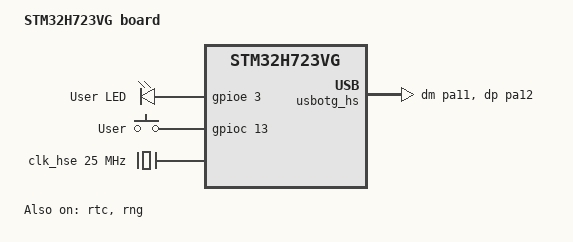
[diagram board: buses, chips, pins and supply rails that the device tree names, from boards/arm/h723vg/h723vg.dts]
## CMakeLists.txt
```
cmake_minimum_required(VERSION 3.20.0)


set(BOARD_ROOT ${CMAKE_CURRENT_SOURCE_DIR})
set(BOARD h723vg)

if(EXISTS "${CMAKE_CURRENT_SOURCE_DIR}/prj.conf")
  list(APPEND CONF_FILE "prj.conf")
endif()

find_package(Zephyr REQUIRED HINTS $ENV{ZEPHYR_BASE})
project(blinky)

target_sources(app PRIVATE src/main.c)
```

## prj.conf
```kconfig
# Logging
CONFIG_LOG=y

# Debugger
CONFIG_DEBUG=y
CONFIG_THREAD_MONITOR=y
CONFIG_DEBUG_THREAD_INFO=y
CONFIG_THREAD_STACK_INFO=y
CONFIG_DEBUG_OPTIMIZATIONS=y

CONFIG_SERIAL=y
CONFIG_CONSOLE=y
CONFIG_UART_CONSOLE=y
CONFIG_UART_LINE_CTRL=y

CONFIG_DEBUG=y
CONFIG_LOG=y
CONFIG_SERIAL=y
CONFIG_CONSOLE=y
CONFIG_UART_CONSOLE=y
CONFIG_UART_LINE_CTRL=y
CONFIG_LOG_MODE_IMMEDIATE=y

CONFIG_EARLY_CONSOLE=y
CONFIG_PRINTK=y

# Enable USB stack
CONFIG_USB_DEVICE_STACK=y

# Enable USB Initialize at boot
CONFIG_USB_DEVICE_INITIALIZE_AT_BOOT=y

CONFIG_USB_SELF_POWERED=y
# Set USB log level
CONFIG_USB_DRIVER_LOG_LEVEL_ERR=y
CONFIG_USB_DEVICE_LOG_LEVEL_ERR=y

# Set USB CDC ACM log level
CONFIG_USB_CDC_ACM_LOG_LEVEL_ERR=y

CONFIG_RTC=y
CONFIG_RTC_ALARM=y
CONFIG_COUNTER_RTC_STM32=y
CONFIG_COUNTER=y

CONFIG_ASSERT=y
```

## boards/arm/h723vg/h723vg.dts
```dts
/*
 * Copyright (c) 2024 Krzysztof Gawryś
 * SPDX-License-Identifier: Apache-2.0
 */

/dts-v1/;
#include <st/h7/stm32h723Xg.dtsi>
#include <st/h7/stm32h723vgtx-pinctrl.dtsi>
#include <zephyr/dt-bindings/input/input-event-codes.h>

/ {
	model = "STM32H723VG board";
	compatible = "st,stm32h723vg";

	chosen {
		zephyr,console = &cdc_acm_uart0;
		zephyr,shell-uart = &cdc_acm_uart0;
		zephyr,dtcm = &dtcm;
		zephyr,sram = &sram0;
		zephyr,flash = &flash0;
	};

	leds: leds {
		compatible = "gpio-leds";
		led: led_0 {
			gpios = <&gpioe 3 GPIO_ACTIVE_HIGH>;
			label = "User LED";
		};
	};

	gpio_keys {
		compatible = "gpio-keys";
		user_button: button_0 {
			label = "User";
			gpios = <&gpioc 13 GPIO_ACTIVE_HIGH>;
			zephyr,code = <INPUT_KEY_0>;
		};
	};

	aliases {
		led = &led;
		sw = &user_button;
	};
};

&clk_hse {
	// hse-bypass;
	clock-frequency = <DT_FREQ_M(25)>; /* STLink 8MHz clock */
	status = "okay";
};

&clk_lse {
	driving-capability = <3>;
	status = "okay";
};

&clk_hsi48 {
	status = "okay";
};

&pll {
	div-m = <2>;
	mul-n = <44>;
	div-p = <1>;
	div-q = <2>;
	div-r = <2>;
	clocks = <&clk_hse>;
	status = "okay";
};

&rcc {
	clocks = <&pll>;
	clock-frequency = <DT_FREQ_M(550)>;
	d1cpre = <1>;
	hpre = <2>;    /* HCLK: 275   MHz */
	d1ppre = <2>;  /* APB1: 137.5 MHz */
	d2ppre1 = <2>; /* APB2: 137.5 MHz */
	d2ppre2 = <2>; /* APB3: 137.5 MHz */
	d3ppre = <2>;  /* APB4: 137.5 MHz */
};

// &usart3 {
	//     pinctrl-0 = <&usart3_tx_pd8 &usart3_rx_pd9>;
	//     pinctrl-names = "default";
	//     current-speed = <115200>;
	//     status = "okay";
// };

// &usart2 {
	//     pinctrl-0 = <&usart2_tx_pd5 &usart2_rx_pd6>;
	//     pinctrl-names = "default";
	//     current-speed = <115200>;
	//     status = "okay";
// };

&rtc {
	clocks = <&rcc STM32_CLOCK_BUS_APB4 0x00010000>,
	         <&rcc STM32_SRC_LSE RTC_SEL(1)>;
	status = "okay";
};

// &timers2 {
	//     st,prescaler = <83>;
	//     counter {
		//         status = "okay";
	//     };
// };

// &spi1 {
	//     status = "okay";
	//     pinctrl-0 = <&spi1_sck_pa5 &spi1_miso_pa6 &spi1_mosi_pb5>;
	//     pinctrl-names = "default";
	//     cs-gpios = <&gpiod 14 (GPIO_ACTIVE_LOW | GPIO_PULL_UP)>;
// };

// &i2c1 {
	//     pinctrl-0 = <&i2c1_scl_pb8 &i2c1_sda_pb9>;
	//     pinctrl-names = "default";
	//     status = "okay";
	//     clock-frequency = <I2C_BITRATE_FAST>;
// };

&backup_sram {
	status = "okay";
};

// &timers12 {
	//     st,prescaler = <10000>;
	//     status = "okay";

	//     pwm12: pwm {
		//         status = "okay";
		//         pinctrl-0 = <&tim12_ch1_pb14>;
		//         pinctrl-names = "default";
	//     };
// };

zephyr_udc0: &usbotg_hs {
	pinctrl-0 = <&usb_otg_hs_dm_pa11 &usb_otg_hs_dp_pa12>;
	pinctrl-names = "default";
	status = "okay";
	cdc_acm_uart0: cdc_acm_uart0 {
		compatible = "zephyr,cdc-acm-uart";
	};
};

&rng {
	status = "okay";
};
```

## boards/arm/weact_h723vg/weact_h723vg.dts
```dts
/*
 * Copyright (c) 2024 Krzysztof Gawryś
 * SPDX-License-Identifier: Apache-2.0
 */

/dts-v1/;
#include <st/h7/stm32h723Xg.dtsi>
#include <st/h7/stm32h723vgtx-pinctrl.dtsi>
#include "arduino_r3_connector.dtsi"
#include <zephyr/dt-bindings/input/input-event-codes.h>

/ {
	model = "STM32H723VG board";
	compatible = "st,stm32h723vg";

	chosen {
		zephyr,console = &usart3;
		zephyr,shell-uart = &usart3;
		zephyr,dtcm = &dtcm;
		zephyr,sram = &sram0;
		zephyr,flash = &flash0;
	};

	leds: leds {
		compatible = "gpio-leds";
		led: led_0 {
			gpios = <&gpioe 3 GPIO_ACTIVE_HIGH>;
			label = "User LED";
		};
	};

	gpio_keys {
		compatible = "gpio-keys";
		user_button: button_0 {
			label = "User";
			gpios = <&gpioc 13 GPIO_ACTIVE_HIGH>;
			zephyr,code = <INPUT_KEY_0>;
		};
	};

	aliases {
		led = &led;
		sw = &user_button;
	};
};

&clk_hse {
	// hse-bypass;
	clock-frequency = <DT_FREQ_M(25)>; /* STLink 8MHz clock */
	status = "okay";
};

&clk_lse {
	driving-capability = <3>;
	status = "okay";
};

&pll {
	div-m = <2>;
	mul-n = <44>;
	div-p = <1>;
	div-q = <5>;
	div-r = <2>;
	clocks = <&clk_hse>;
	status = "okay";
};

&rcc {
	clocks = <&pll>;
	clock-frequency = <DT_FREQ_M(550)>;
	d1cpre = <1>;
	hpre = <2>;    /* HCLK: 275   MHz */
	d1ppre = <2>;  /* APB1: 137.5 MHz */
	d2ppre1 = <2>; /* APB2: 137.5 MHz */
	d2ppre2 = <2>; /* APB3: 137.5 MHz */
	d3ppre = <2>;  /* APB4: 137.5 MHz */
};

&usart3 {
	pinctrl-0 = <&usart3_tx_pd8 &usart3_rx_pd9>;
	pinctrl-names = "default";
	current-speed = <115200>;
	status = "okay";
};

&usart2 {
	pinctrl-0 = <&usart2_tx_pd5 &usart2_rx_pd6>;
	pinctrl-names = "default";
	current-speed = <115200>;
	status = "okay";
};

&rtc {
	clocks = <&rcc STM32_CLOCK_BUS_APB4 0x00010000>,
		 <&rcc STM32_SRC_LSI RTC_SEL(2)>;
	status = "okay";
};

&spi1 {
	status = "okay";
	pinctrl-0 = <&spi1_sck_pa5 &spi1_miso_pa6 &spi1_mosi_pb5>;
	pinctrl-names = "default";
	cs-gpios = <&gpiod 14 (GPIO_ACTIVE_LOW | GPIO_PULL_UP)>;
};

&i2c1 {
	pinctrl-0 = <&i2c1_scl_pb8 &i2c1_sda_pb9>;
	pinctrl-names = "default";
	status = "okay";
	clock-frequency = <I2C_BITRATE_FAST>;
};

&backup_sram {
	status = "okay";
};

&timers12 {
	st,prescaler = <10000>;
	status = "okay";

	pwm12: pwm {
		status = "okay";
		pinctrl-0 = <&tim12_ch1_pb14>;
		pinctrl-names = "default";
	};
};

zephyr_udc0: &usbotg_hs {
	pinctrl-0 = <&usb_otg_hs_dm_pa11 &usb_otg_hs_dp_pa12>;
	pinctrl-names = "default";
	status = "okay";
};

&rng {
	status = "okay";
};
```

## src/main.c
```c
/*
 * Copyright (c) 2022 Mr. Green's Workshop https://www.MrGreensWorkshop.com
 *
 * SPDX-License-Identifier: Apache-2.0
 */

#include <zephyr/kernel.h>
#include <stdio.h>
#include <zephyr/drivers/uart.h>
#include <zephyr/drivers/gpio.h>
#include <zephyr/drivers/counter.h>

#include <zephyr/logging/log.h>
#include <zephyr/kernel.h>
#include <zephyr/usb/usb_device.h>
#include <zephyr/usb/usbd.h>
#include <zephyr/drivers/uart.h>

#define DELAY 4000000
#define ALARM_CHANNEL_ID 0

struct counter_alarm_cfg alarm_cfg;

LOG_MODULE_REGISTER(main, CONFIG_LOG_DEFAULT_LEVEL);
#define TIMER DT_INST(0, st_stm32_rtc)

/* The devicetree node identifier for the "led" alias. */
#define LED_NODE DT_ALIAS(led)

static const struct gpio_dt_spec led = GPIO_DT_SPEC_GET(LED_NODE, gpios);

static void test_counter_interrupt_fn(const struct device *counter_dev,
                                      uint8_t chan_id, uint32_t ticks,
                                      void *user_data)
{
    struct counter_alarm_cfg *config = user_data;
    uint32_t now_ticks;
    uint64_t now_usec;
    int now_sec;
    int err;

    err = counter_get_value(counter_dev, &now_ticks);
    if (err)
    {
        LOG_INF("Failed to read counter value (err %d)", err);
        return;
    }

    now_usec = counter_ticks_to_us(counter_dev, now_ticks);
    now_sec = (int)(now_usec / USEC_PER_SEC);

    LOG_INF("!!! Alarm !!!");
    LOG_INF("Now: %u", now_sec);

    gpio_pin_toggle_dt(&led);

    /* Set a new alarm with a double length duration */
    // config->ticks = config->ticks * 2U;

    LOG_INF("Set alarm in %u sec (%u ticks)",
            (uint32_t)(counter_ticks_to_us(counter_dev,
                                           config->ticks) /
                       USEC_PER_SEC),
            config->ticks);

    err = counter_set_channel_alarm(counter_dev, ALARM_CHANNEL_ID,
                                    user_data);
    if (err != 0)
    {
        LOG_INF("Alarm could not be set");
    }
}

int main(void)
{
    int ret;
    bool led_state = true;

    if (!gpio_is_ready_dt(&led))
    {
        return 0;
    }

    ret = gpio_pin_configure_dt(&led, GPIO_OUTPUT_ACTIVE);
    if (ret < 0)
    {
        return 0;
    }

    LOG_INF("Zephyr running on H723VG with early USB console");

    const struct device *const counter_dev = DEVICE_DT_GET(TIMER);

    if (!device_is_ready(counter_dev))
    {
        LOG_INF("device not ready.\n");
        return 0;
    }

    counter_start(counter_dev);

    alarm_cfg.flags = 0;
    alarm_cfg.ticks = counter_us_to_ticks(counter_dev, DELAY);
    alarm_cfg.callback = test_counter_interrupt_fn;
    alarm_cfg.user_data = &alarm_cfg;

    int err;
    err = counter_set_channel_alarm(counter_dev, ALARM_CHANNEL_ID,
                                    &alarm_cfg);
    LOG_INF("Set alarm in %u sec (%u ticks)\n",
            (uint32_t)(counter_ticks_to_us(counter_dev,
                                           alarm_cfg.ticks) /
                       USEC_PER_SEC),
            alarm_cfg.ticks);

    if (-EINVAL == err)
    {
        LOG_INF("Alarm settings invalid\n");
    }
    else if (-ENOTSUP == err)
    {
        LOG_INF("Alarm setting request not supported\n");
    }
    else if (err != 0)
    {
        LOG_INF("Error\n");
    }

    while (1)
    {
        k_sleep(K_FOREVER);
    }
    return 0;
}
```
